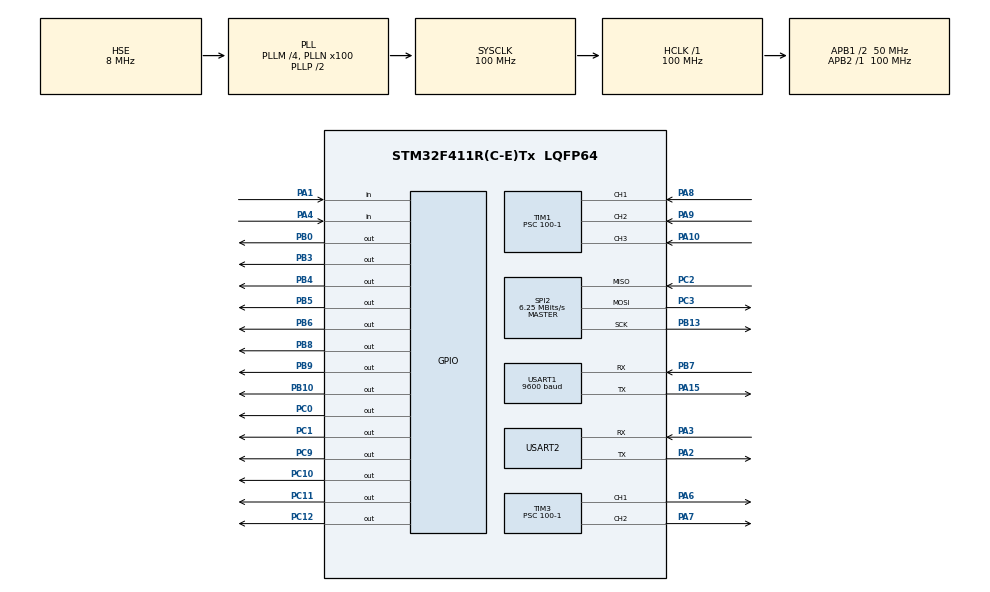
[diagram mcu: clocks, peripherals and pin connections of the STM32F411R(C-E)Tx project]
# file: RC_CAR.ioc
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FREERTOS.Tasks01=HC_TASK,24,128,HC_TASK_F,Default,NULL,Dynamic,NULL,NULL;MOTOR_TASK,24,128,MOTOR_TASK_F,Default,NULL,Dynamic,NULL,NULL;RGB_TASK,24,128,RGB_TASK_F,Default,NULL,Dynamic,NULL,NULL;RFID_TASK,24,128,RFID_TASK_F,Default,NULL,Dynamic,NULL,NULL
FREERTOS.configUSE_NEWLIB_REENTRANT=1
Mcu.Family=STM32F4
Mcu.Name=STM32F411R(C-E)Tx
Mcu.Package=LQFP64
NVIC.PriorityGroup=NVIC_PRIORITYGROUP_4
NVIC.TIM1_CC_IRQn=true\:5\:0\:false\:false\:true\:true\:true\:true\:true
NVIC.TIM1_UP_TIM10_IRQn=true\:5\:0\:false\:false\:true\:false\:false\:true\:true
NVIC.TIM3_IRQn=true\:5\:0\:false\:false\:true\:true\:true\:true\:true
NVIC.TimeBase=TIM1_UP_TIM10_IRQn
NVIC.TimeBaseIP=TIM10
NVIC.USART1_IRQn=true\:5\:0\:false\:false\:true\:true\:true\:true\:true
PA1.Signal=GPIO_Input
PA10.Signal=S_TIM1_CH3
PA13.Mode=Serial_Wire
PA13.Signal=SYS_JTMS-SWDIO
PA14.Mode=Serial_Wire
PA14.Signal=SYS_JTCK-SWCLK
PA15.Mode=Asynchronous
PA15.Signal=USART1_TX
PA2.Mode=Asynchronous
PA2.Signal=USART2_TX
PA3.Mode=Asynchronous
PA3.Signal=USART2_RX
PA4.GPIO_PuPd=GPIO_PULLUP
PA4.Signal=GPIO_Input
PA6.Signal=S_TIM3_CH1
PA7.Signal=S_TIM3_CH2
PA8.Signal=S_TIM1_CH1
PA9.Signal=S_TIM1_CH2
PB0.Signal=GPIO_Output
PB10.Signal=GPIO_Output
PB13.Mode=Full_Duplex_Master
PB13.Signal=SPI2_SCK
PB3.Signal=GPIO_Output
PB4.Signal=GPIO_Output
PB5.Signal=GPIO_Output
PB6.Signal=GPIO_Output
PB7.Mode=Asynchronous
PB7.Signal=USART1_RX
PB8.GPIO_Speed=GPIO_SPEED_FREQ_VERY_HIGH
PB8.Signal=GPIO_Output
PB9.GPIO_Speed=GPIO_SPEED_FREQ_VERY_HIGH
PB9.Signal=GPIO_Output
PC0.Signal=GPIO_Output
PC1.Signal=GPIO_Output
PC10.Signal=GPIO_Output
PC11.Signal=GPIO_Output
PC12.Signal=GPIO_Output
PC2.Mode=Full_Duplex_Master
PC2.Signal=SPI2_MISO
PC3.Mode=Full_Duplex_Master
PC3.Signal=SPI2_MOSI
PC9.GPIO_Speed=GPIO_SPEED_FREQ_VERY_HIGH
PC9.Signal=GPIO_Output
PH0\ -\ OSC_IN.Mode=HSE-External-Oscillator
PH0\ -\ OSC_IN.Signal=RCC_OSC_IN
PH1\ -\ OSC_OUT.Mode=HSE-External-Oscillator
PH1\ -\ OSC_OUT.Signal=RCC_OSC_OUT
ProjectManager.HeapSize=0x200
ProjectManager.StackSize=0x400
ProjectManager.TargetToolchain=STM32CubeIDE
RCC.48MHZClocksFreq_Value=50000000
RCC.AHBFreq_Value=100000000
RCC.APB1CLKDivider=RCC_HCLK_DIV2
RCC.APB1Freq_Value=50000000
RCC.APB1TimFreq_Value=100000000
RCC.APB2Freq_Value=100000000
RCC.APB2TimFreq_Value=100000000
RCC.CortexFreq_Value=100000000
RCC.HCLKFreq_Value=100000000
RCC.HSE_VALUE=8000000
RCC.HSI_VALUE=16000000
RCC.LSE_VALUE=32768
RCC.PLLM=4
RCC.PLLN=100
RCC.PLLSourceVirtual=RCC_PLLSOURCE_HSE
RCC.SYSCLKFreq_VALUE=100000000
RCC.SYSCLKSource=RCC_SYSCLKSOURCE_PLLCLK
RCC.VCOOutputFreq_Value=200000000
SH.S_TIM1_CH1.0=TIM1_CH1,Input_Capture1_from_TI1
SH.S_TIM1_CH2.0=TIM1_CH2,Input_Capture2_from_TI2
SH.S_TIM1_CH3.0=TIM1_CH3,Input_Capture3_from_TI3
SH.S_TIM3_CH1.0=TIM3_CH1,PWM Generation1 CH1
SH.S_TIM3_CH2.0=TIM3_CH2,PWM Generation2 CH2
SPI2.BaudRatePrescaler=SPI_BAUDRATEPRESCALER_8
SPI2.CalculateBaudRate=6.25 MBits/s
SPI2.Direction=SPI_DIRECTION_2LINES
SPI2.Mode=SPI_MODE_MASTER
SPI2.VirtualType=VM_MASTER
TIM1.Channel-Input_Capture1_from_TI1=TIM_CHANNEL_1
TIM1.Channel-Input_Capture2_from_TI2=TIM_CHANNEL_2
TIM1.Channel-Input_Capture3_from_TI3=TIM_CHANNEL_3
TIM1.Prescaler=100-1
TIM11.Prescaler=100-1
TIM3.AutoReloadPreload=TIM_AUTORELOAD_PRELOAD_DISABLE
TIM3.Channel-PWM\ Generation1\ CH1=TIM_CHANNEL_1
TIM3.Channel-PWM\ Generation2\ CH2=TIM_CHANNEL_2
TIM3.Period=1000-1
TIM3.Prescaler=100-1
TIM3.Pulse-PWM\ Generation1\ CH1=500
TIM3.Pulse-PWM\ Generation2\ CH2=500
TIM4.Period=1000-1
TIM4.Prescaler=2000-1
USART1.BaudRate=9600
USART1.VirtualMode=VM_ASYNC
USART2.VirtualMode=VM_ASYNC
VP_FREERTOS_VS_CMSIS_V2.Mode=CMSIS_V2
VP_SYS_VS_tim10.Mode=TIM10
VP_TIM11_VS_ClockSourceINT.Mode=Enable_Timer
VP_TIM1_VS_ClockSourceINT.Mode=Internal
VP_TIM4_VS_ClockSourceINT.Mode=Internal
board=custom

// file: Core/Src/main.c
/* USER CODE BEGIN Header */
/**
  ******************************************************************************
  * @file           : main.c
  * @brief          : Main program body
  ******************************************************************************
  * @attention
  *
  * Copyright (c) 2025 STMicroelectronics.
  * All rights reserved.
  *
  * This software is licensed under terms that can be found in the LICENSE file
  * in the root directory of this software component.
  * If no LICENSE file comes with this software, it is provided AS-IS.
  *
  ******************************************************************************
  */
/* USER CODE END Header */
#include "main.h"
#include "cmsis_os.h"
#include "spi.h"
#include "tim.h"
#include "usart.h"
#include "gpio.h"

/* USER CODE BEGIN Includes */
#include "motor.h"
#include "delay_us.h"
#include "ultra_sonic.h"
/* USER CODE END Includes */

/* USER CODE BEGIN PV */
uint8_t rxData;
extern uint8_t btData;
extern uint8_t isAutoMode;
/* USER CODE END PV */

void SystemClock_Config(void);
void MX_FREERTOS_Init(void);
/* USER CODE BEGIN PFP */
void HAL_UART_RxCpltCallback(UART_HandleTypeDef *huart)
{
  if(huart->Instance==USART1)
  {
	btData = rxData;
	if(rxData == 88)
	{
		isAutoMode = 1;
	}
	else if(rxData == 120)
	{
		isAutoMode = 0;
	}

    HAL_UART_Receive_IT(&huart1,&rxData,1);
  }
}

void HAL_TIM_IC_CaptureCallback(TIM_HandleTypeDef* htim)
{
  HCSR04_IC_CaptureCallback(htim); // 모듈로 위임
}
/* USER CODE END PFP */

int main(void)
{

  /* MCU Configuration--------------------------------------------------------*/

  /* Reset of all peripherals, Initializes the Flash interface and the Systick. */
  HAL_Init();

  /* Configure the system clock */
  SystemClock_Config();

  /* Initialize all configured peripherals */
  MX_GPIO_Init();
  MX_USART1_UART_Init();
  MX_TIM3_Init();
  MX_TIM1_Init();
  MX_TIM11_Init();
  MX_USART2_UART_Init();
  MX_TIM4_Init();
  MX_SPI2_Init();
  /* USER CODE BEGIN 2 */
	MFRC522_Init();

  HAL_TIM_Base_Start(&htim11);		//us timer
  HCSR04_Init(); // 3채널 캡처 시작
  HAL_UART_Receive_IT(&huart1, &rxData, 1);
  HAL_TIM_PWM_Start(&htim3, TIM_CHANNEL_1);
  HAL_TIM_PWM_Start(&htim3, TIM_CHANNEL_2);
  /* USER CODE END 2 */

  /* Init scheduler */
  osKernelInitialize();

  /* Call init function for freertos objects (in cmsis_os2.c) */
  MX_FREERTOS_Init();

  /* Start scheduler */
  osKernelStart();

  /* We should never get here as control is now taken by the scheduler */

  /* Infinite loop */
  while (1)
  {

  }
}

void SystemClock_Config(void)
{
  RCC_OscInitTypeDef RCC_OscInitStruct = {0};
  RCC_ClkInitTypeDef RCC_ClkInitStruct = {0};

  /** Configure the main internal regulator output voltage
  */
  __HAL_RCC_PWR_CLK_ENABLE();
  __HAL_PWR_VOLTAGESCALING_CONFIG(PWR_REGULATOR_VOLTAGE_SCALE1);

  /** Initializes the RCC Oscillators according to the specified parameters
  * in the RCC_OscInitTypeDef structure.
  */
  RCC_OscInitStruct.OscillatorType = RCC_OSCILLATORTYPE_HSE;
  RCC_OscInitStruct.HSEState = RCC_HSE_ON;
  RCC_OscInitStruct.PLL.PLLState = RCC_PLL_ON;
  RCC_OscInitStruct.PLL.PLLSource = RCC_PLLSOURCE_HSE;
  RCC_OscInitStruct.PLL.PLLM = 4;
  RCC_OscInitStruct.PLL.PLLN = 100;
  RCC_OscInitStruct.PLL.PLLP = RCC_PLLP_DIV2;
  RCC_OscInitStruct.PLL.PLLQ = 4;
  if (HAL_RCC_OscConfig(&RCC_OscInitStruct) != HAL_OK)
  {
    Error_Handler();
  }

  /** Initializes the CPU, AHB and APB buses clocks
  */
  RCC_ClkInitStruct.ClockType = RCC_CLOCKTYPE_HCLK|RCC_CLOCKTYPE_SYSCLK
                              |RCC_CLOCKTYPE_PCLK1|RCC_CLOCKTYPE_PCLK2;
  RCC_ClkInitStruct.SYSCLKSource = RCC_SYSCLKSOURCE_PLLCLK;
  RCC_ClkInitStruct.AHBCLKDivider = RCC_SYSCLK_DIV1;
  RCC_ClkInitStruct.APB1CLKDivider = RCC_HCLK_DIV2;
  RCC_ClkInitStruct.APB2CLKDivider = RCC_HCLK_DIV1;

  if (HAL_RCC_ClockConfig(&RCC_ClkInitStruct, FLASH_LATENCY_3) != HAL_OK)
  {
    Error_Handler();
  }
}

void HAL_TIM_PeriodElapsedCallback(TIM_HandleTypeDef *htim)
{
  if (htim->Instance == TIM10)
  {
    HAL_IncTick();
  }
}

void Error_Handler(void)
{
  __disable_irq();
  while (1)
  {
  }
}

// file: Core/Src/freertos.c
/* USER CODE BEGIN Header */
/**
 ******************************************************************************
 * File Name          : freertos.c
 * Description        : Code for freertos applications
 ******************************************************************************
 * @attention
 *
 * Copyright (c) 2025 STMicroelectronics.
 * All rights reserved.
 *
 * This software is licensed under terms that can be found in the LICENSE file
 * in the root directory of this software component.
 * If no LICENSE file comes with this software, it is provided AS-IS.
 *
 ******************************************************************************
 */
/* USER CODE END Header */

#include "FreeRTOS.h"
#include "task.h"
#include "main.h"
#include "cmsis_os.h"

#include "delay_us.h"
#include "motor.h"
#include "ultra_sonic.h"
#include "usart.h"
#include "string.h"
#include "rc522.h"
#include "buzzer.h"

volatile uint8_t btData = 0;
volatile uint16_t speedVal = 700;
volatile uint8_t currentDirection = 'S';
volatile uint8_t isAutoMode = 0;
volatile uint8_t status;
volatile uint8_t str[MAX_LEN]; // Max_LEN = 16
volatile uint8_t sNum[5];
volatile uint8_t isEngineOn = 0;

/* Definitions for RTOS threads */
osThreadId_t HC_TASKHandle;
const osThreadAttr_t HC_TASK_attributes = {
		.name = "HC_TASK",
		.stack_size = 128 * 4,
		.priority = (osPriority_t) osPriorityNormal,
};

osThreadId_t MOTOR_TASKHandle;
const osThreadAttr_t MOTOR_TASK_attributes = {
		.name = "MOTOR_TASK",
		.stack_size = 128 * 4,
		.priority = (osPriority_t) osPriorityNormal,
};

osThreadId_t RGB_TASKHandle;
const osThreadAttr_t RGB_TASK_attributes = {
		.name = "RGB_TASK",
		.stack_size = 128 * 4,
		.priority = (osPriority_t) osPriorityNormal,
};

osThreadId_t RFID_TASKHandle;
const osThreadAttr_t RFID_TASK_attributes = {
		.name = "RFID_TASK",
		.stack_size = 128 * 4,
		.priority = (osPriority_t) osPriorityNormal,
};

/* Function prototypes */
void HC_TASK_F(void *argument);
void MOTOR_TASK_F(void *argument);
void RGB_TASK_F(void *argument);
void RFID_TASK_F(void *argument);

void MX_FREERTOS_Init(void)
{
	HC_TASKHandle = osThreadNew(HC_TASK_F, NULL, &HC_TASK_attributes);
	MOTOR_TASKHandle = osThreadNew(MOTOR_TASK_F, NULL, &MOTOR_TASK_attributes);
	RGB_TASKHandle = osThreadNew(RGB_TASK_F, NULL, &RGB_TASK_attributes);
	RFID_TASKHandle = osThreadNew(RFID_TASK_F, NULL, &RFID_TASK_attributes);
}

void HC_TASK_F(void *argument)
{
	for (;;)
	{
		if(isEngineOn)
		{
			HCSR04_Trigger(&sensorLeft);  osDelay(10);
			HCSR04_Trigger(&sensorFront); osDelay(10);
			HCSR04_Trigger(&sensorRight); osDelay(10);

			if (sensorLeft.distance == 0 || sensorLeft.distance > 400)   sensorLeft.distance = 400;
			if (sensorFront.distance == 0 || sensorFront.distance > 400) sensorFront.distance = 400;
			if (sensorRight.distance == 0 || sensorRight.distance > 400) sensorRight.distance = 400;

			if (isAutoMode)
			{
				if (sensorFront.distance < 27)
				{
					sHandler();
					osDelay(50);

					if (sensorLeft.distance > sensorRight.distance + 7)
					{
						aHandler();
					}
					else if (sensorRight.distance > sensorLeft.distance + 7)
					{
						dHandler();
					}
					else
					{
						sHandler();
						osDelay(100);
						continue;
					}

					osDelay(100);

				}
				else if (sensorLeft.distance < 30)
				{
					dHandler();
					osDelay(100);
				}
				else if (sensorRight.distance < 30)
				{
					aHandler();
					osDelay(100);
				}
				else
				{
					wHandler();
				}
			}
		}

		osDelay(1);
	}
}

void MOTOR_TASK_F(void *argument)
{
	for(;;)
	{
		if (!isEngineOn)
		{
			if (btData != 0)
			{
				rejectBuzzer();  // 시동 안 걸렸는데 블루투스 제어 시도
				btData = 0;      // 명령 무시
			}
			osDelay(10);
			continue;
		}
		if(!isAutoMode)
		{
			if (btData != 0)
			{
				if (btData >= '0' && btData <= '9')
				{
					speedVal = ((btData - '0') * 70) + 370;
					TIM3->CCR1 = speedVal;
					TIM3->CCR2 = speedVal;
				}
				else {
					currentDirection = btData;
					switch (currentDirection)
					{
					case 'S': stopHandler(); break;
					case 'F': wHandler(); break;
					case 'B': sHandler(); break;
					case 'R': dHandler(); break;
					case 'L': aHandler(); break;
					case 'G': wlHandler(); break;
					case 'H': wrHandler(); break;
					case 'I': slHandler(); break;
					case 'J': srHandler(); break;
					default: break;
					}
				}
				btData = 0;
				osDelay(10);
			}
		}
	}
}

void RGB_TASK_F(void *argument)
{
	for (;;)
	{
		if (!isEngineOn)
		{
			if (HAL_GPIO_ReadPin(GPIOA, GPIO_PIN_1) == GPIO_PIN_RESET ||
					HAL_GPIO_ReadPin(GPIOA, GPIO_PIN_4) == GPIO_PIN_RESET)
			{
				rejectBuzzer(); // 시동 안 켰는데 버튼 눌림
				osDelay(200);   // 디바운싱
			}
			continue; // 더 이상 동작 못하게
		}

		if (HAL_GPIO_ReadPin(GPIOA, GPIO_PIN_1) == GPIO_PIN_RESET)
		{
			stopHandler();
			isAutoMode = 0;
			osDelay(200);
		}
		else if (HAL_GPIO_ReadPin(GPIOA, GPIO_PIN_4) == GPIO_PIN_RESET)
		{
			isAutoMode = 1;
			osDelay(200);
		}

		isAutoMode ? redHandler() : greenHandler();
		osDelay(20);
	}

}

void RFID_TASK_F(void *argument)
{
	uint8_t masterCardUID[4] = {225, 157, 194, 1};

	HAL_GPIO_WritePin(GPIOB, GPIO_PIN_6, GPIO_PIN_RESET);

	for(;;)
	{
		if (MFRC522_Request(PICC_REQIDL, str) == MI_OK)
		{
			if (MFRC522_Anticoll(str) == MI_OK)
			{
				if ((isEngineOn == 0) &&
						(str[0] == masterCardUID[0] && str[1] == masterCardUID[1] &&
								str[2] == masterCardUID[2] && str[3] == masterCardUID[3]))
				{
					isEngineOn = 1;

					startBuzzer();
				}
			}
		}

		isEngineOn ? HAL_GPIO_WritePin(GPIOC, GPIO_PIN_11, 1) : HAL_GPIO_WritePin(GPIOC, GPIO_PIN_11, 0);
		osDelay(200);
	}
}
